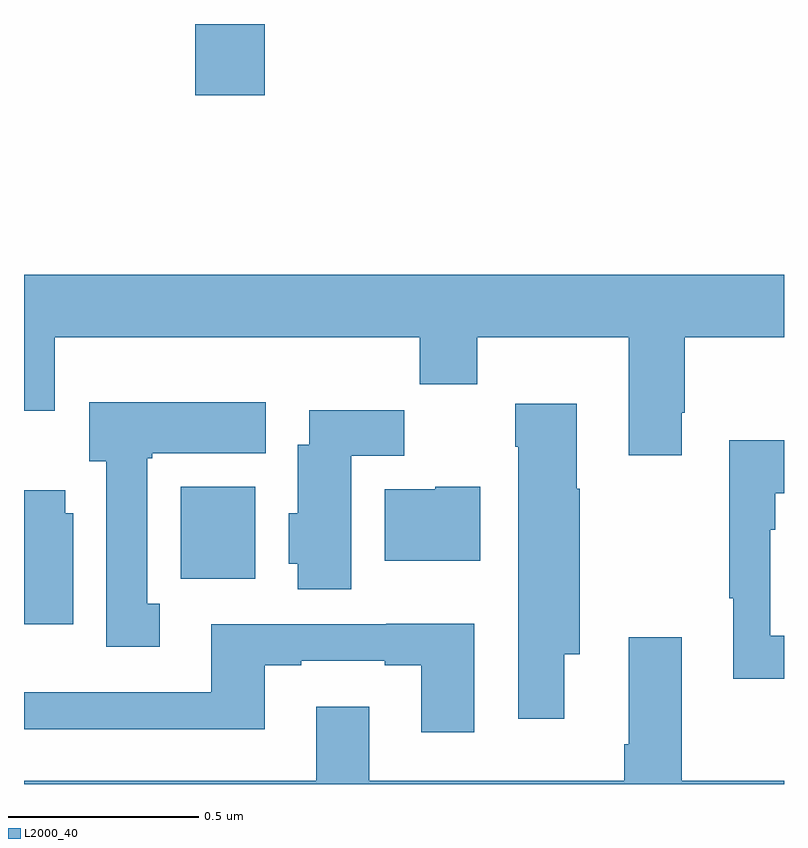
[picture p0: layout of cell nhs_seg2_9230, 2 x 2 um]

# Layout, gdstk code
import gdstk
lib = gdstk.Library(unit=1e-6, precision=1e-09)
def R(c, l, rs):  # rectangles x0, y0, x1, y1
    for r in rs: c.add(gdstk.rectangle(r[:2], r[2:], *l))
def P(c, l, *ps):  # polygons
    for p in ps: c.add(gdstk.Polygon(p, *l))
L2000_40 = (2000, 40)

nhs_seg2_9230 = lib.new_cell('nhs_seg2_9230')
R(nhs_seg2_9230, L2000_40, [(226.412,640.34,226.609,640.582), (226.451,641.613,226.634,641.8)])
P(nhs_seg2_9230, L2000_40, [(227.731,640.777),(227.739,640.777),(227.739,640.976),(228,640.976),(228,641.14),(226,641.14),(226,640.782),(226.081,640.782),(226.081,640.976),(227.041,640.976),(227.041,640.852),(227.193,640.852),(227.193,640.976),(227.591,640.976),(227.591,640.665),(227.731,640.665)],
  [(226.357,640.274),(226.324,640.274),(226.324,640.657),(226.338,640.657),(226.338,640.67),(226.636,640.67),(226.636,640.804),(226.172,640.804),(226.172,640.65),(226.217,640.65),(226.217,640.161),(226.357,640.161)],
  [(227.422,640.142),(227.463,640.142),(227.463,640.577),(227.455,640.577),(227.455,640.801),(227.293,640.801),(227.293,640.688),(227.3,640.688),(227.3,639.972),(227.422,639.972)],
  [(226.861,640.664),(227,640.664),(227,640.783),(226.751,640.783),(226.751,640.693),(226.721,640.693),(226.721,640.512),(226.697,640.512),(226.697,640.38),(226.721,640.38),(226.721,640.313),(226.861,640.313)],
  [(228,640.19),(227.964,640.19),(227.964,640.469),(227.977,640.469),(227.977,640.565),(228,640.565),(228,640.705),(227.856,640.705),(227.856,640.289),(227.867,640.289),(227.867,640.077),(228,640.077)],
  [(227.2,640.582),(227.082,640.582),(227.082,640.576),(226.949,640.576),(226.949,640.388),(227.2,640.388)],
  [(226.129,640.512),(226.108,640.512),(226.108,640.573),(226,640.573),(226,640.22),(226.129,640.22)],
  [(227.185,640.222),(226.953,640.222),(226.953,640.221),(226.493,640.221),(226.493,640.041),(226,640.041),(226,639.944),(226.633,639.944),(226.633,640.113),(226.729,640.113),(226.729,640.125),(226.949,640.125),(226.949,640.113),(227.045,640.113),(227.045,639.936),(227.185,639.936)],
  [(228,639.808),(227.731,639.808),(227.731,640.186),(227.591,640.186),(227.591,639.904),(227.579,639.904),(227.579,639.808),(226.909,639.808),(226.909,640.003),(226.769,640.003),(226.769,639.808),(226,639.808),(226,639.8),(228,639.8)])

lib.write_gds('nhs_seg2_9230.gds')
